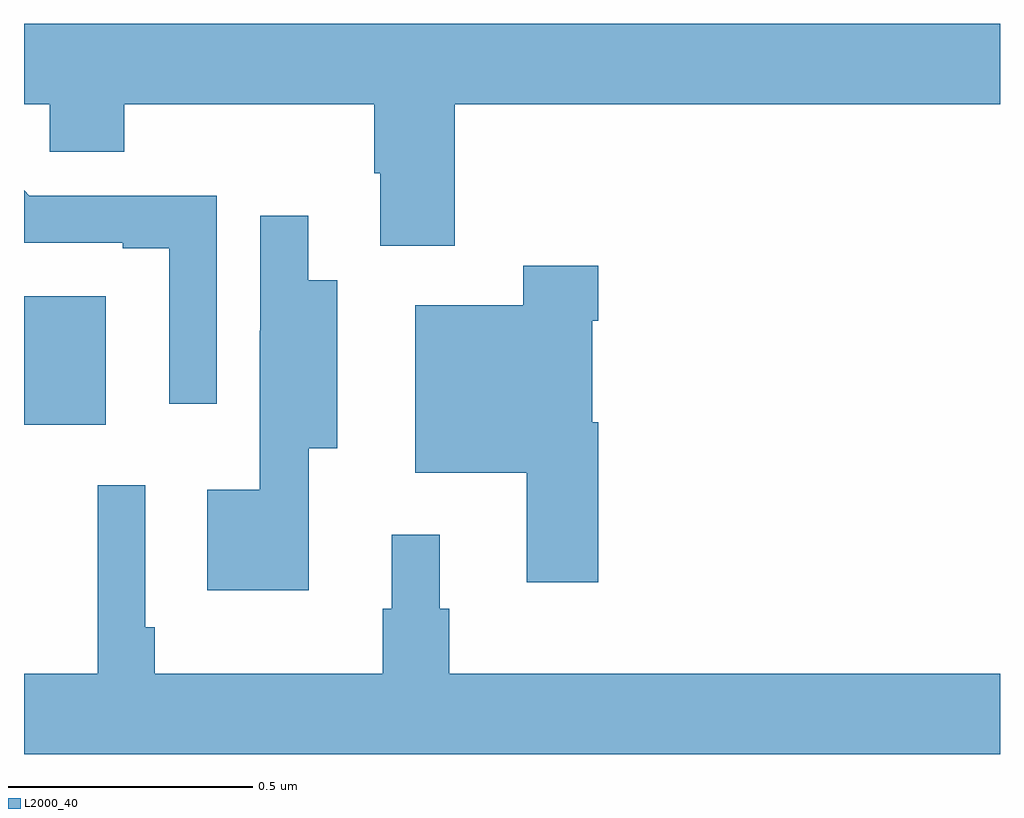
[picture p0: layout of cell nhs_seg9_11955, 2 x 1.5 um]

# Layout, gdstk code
import gdstk
lib = gdstk.Library(unit=1e-6, precision=1e-09)
def R(c, l, rs):  # rectangles x0, y0, x1, y1
    for r in rs: c.add(gdstk.rectangle(r[:2], r[2:], *l))
def P(c, l, *ps):  # polygons
    for p in ps: c.add(gdstk.Polygon(p, *l))
L2000_40 = (2000, 40)

nhs_seg9_11955 = lib.new_cell('nhs_seg9_11955')
R(nhs_seg9_11955, L2000_40, [(262,1206.419,262.168,1206.682)])
P(nhs_seg9_11955, L2000_40, [(262.883,1207.076),(264,1207.076),(264,1207.24),(262,1207.24),(262,1207.076),(262.053,1207.076),(262.053,1206.978),(262.205,1206.978),(262.205,1207.076),(262.718,1207.076),(262.718,1206.934),(262.73,1206.934),(262.73,1206.786),(262.883,1206.786)],
  [(262.395,1206.888),(262.011,1206.888),(262,1206.899),(262,1206.792),(262.202,1206.792),(262.202,1206.78),(262.298,1206.78),(262.298,1206.462),(262.395,1206.462)],
  [(262.584,1206.371),(262.642,1206.371),(262.642,1206.715),(262.582,1206.715),(262.582,1206.847),(262.484,1206.847),(262.484,1206.611),(262.483,1206.611),(262.483,1206.286),(262.376,1206.286),(262.376,1206.08),(262.584,1206.08)],
  [(263.177,1206.424),(263.164,1206.424),(263.164,1206.632),(263.177,1206.632),(263.177,1206.745),(263.023,1206.745),(263.023,1206.664),(262.802,1206.664),(262.802,1206.32),(263.03,1206.32),(263.03,1206.096),(263.177,1206.096)],
  [(264,1205.908),(262.871,1205.908),(262.871,1206.042),(262.852,1206.042),(262.852,1206.193),(262.754,1206.193),(262.754,1206.042),(262.735,1206.042),(262.735,1205.908),(262.268,1205.908),(262.268,1206.004),(262.248,1206.004),(262.248,1206.295),(262.151,1206.295),(262.151,1205.908),(262,1205.908),(262,1205.744),(264,1205.744)])

lib.write_gds('nhs_seg9_11955.gds')
